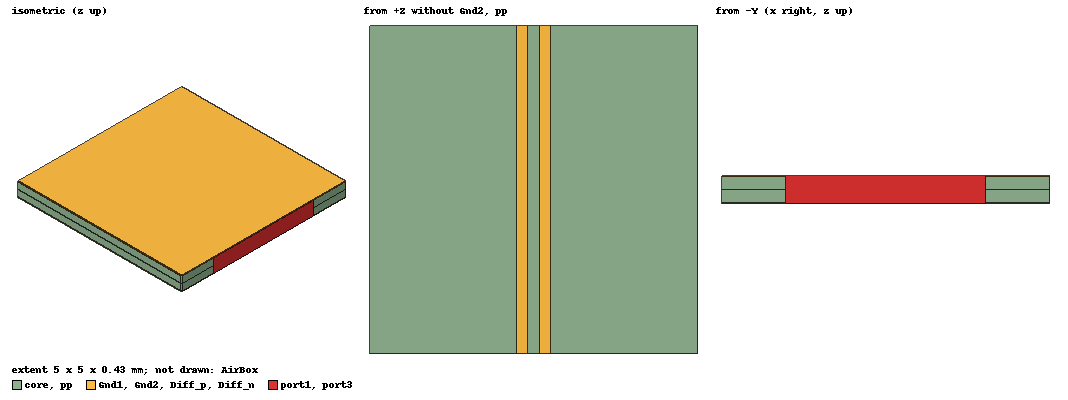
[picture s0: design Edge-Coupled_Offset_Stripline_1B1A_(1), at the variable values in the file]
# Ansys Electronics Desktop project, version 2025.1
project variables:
  $Er1 = 3.6
  $Er2 = 3.6
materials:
  vacuum: permittivity=1
  core: permittivity=$Er1 permeability=1.00001 dielectric_loss_tangent=0.085
  pp: permittivity=$Er2 permeability=1.00001 dielectric_loss_tangent=0.085
  copper: permeability=0.999991 conductivity=58000000
  air: permittivity=1.0006 permeability=1.0000004

design Edge-Coupled_Offset_Stripline_1B1A_(1) (HFSS, HFSS Hybrid Terminal Network, model units mm)
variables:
  H1 = 200um
  H2 = 200um
  W1 = 160um
  W2 = 150um
  S1 = 190um
  T1 = 15um
  subX = 5mm
  subY = 5mm
  subH = 0.4mm
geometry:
  core [core] = box(corner=(0mm, 0mm, 0mm), size=(subX, subY, H1))
  pp [pp] = box(corner=(0mm, 0mm, H1), size=(subX, subY, H2))
  Gnd1 [copper, solve inside] = box(corner=(0mm, 0mm, 0mm), size=(subX, subY, -T1))
  Gnd2 [copper, solve inside] = box(corner=(0mm, 0mm, H1+H2), size=(subX, subY, T1))
  Diff_p [copper, solve inside] = polyline(y=0mm, xz: ((subX-S1-W1)/2-(W1)/2, H1) ((subX-S1-W1)/2+(W1)/2, H1) ((subX-S1-W1)/2+(W2)/2, H1+T1) ((subX-S1-W1)/2-(W2)/2, H1+T1) ((subX-S1-W1)/2-(W1)/2, H1), closed, covered)
  Diff_p.thicken(-subY)
  Diff_n [copper, solve inside] = Diff_p.duplicate_along_line(step=(S1+W1, 0mm, 0mm), total=2)
  Diff_n_1 = Diff_n.copy()
  Diff_p_1 = Diff_p.copy()
  pp.subtract(Diff_n_1, Diff_p_1)
  AirBox [air] = box(corner=(0, 0, -T1), size=(subX, subY, subH+2*T1))
  port1 = rectangle(corner=((subX)/2, 0, subH+T1), z_size=-(subH+2*T1), x_size=-6*(W1+(S1)/2))
  port2 = rectangle(corner=((subX)/2, 0, subH+T1), z_size=-(subH+2*T1), x_size=6*(W1+(S1)/2))
  port1.unite(port2)
  port3 = rectangle(corner=((subX)/2, subY, subH+T1), z_size=-(subH+2*T1), x_size=-6*(W1+(S1)/2))
  port4 = rectangle(corner=((subX)/2, subY, subH+T1), z_size=-(subH+2*T1), x_size=6*(W1+(S1)/2))
  port3.unite(port4)
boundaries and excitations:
  Rad1: Radiation Objects=AirBox
  Diff_p_T1: Terminal port=1 Faces=Diff_p.face(at (2.325, 0, 0.2075)) TerminalResistance=50ohm
  Diff_n_T1: Terminal port=1 Faces=Diff_n.face(at (2.675, 0, 0.2075)) TerminalResistance=50ohm
  Diff_p_T2: Terminal port=2 Faces=Diff_p.face(at (2.325, 5, 0.2075)) TerminalResistance=50ohm
  Diff_n_T2: Terminal port=2 Faces=Diff_n.face(at (2.675, 5, 0.2075)) TerminalResistance=50ohm
  1: Wave Port Faces=port1.face(at (2.5, 0, 0.2)) WavePortType=Terminal NumModes=1
  2: Wave Port Faces=port3.face(at (2.5, 5, 0.2)) WavePortType=Terminal NumModes=1
  reference conductors: Gnd1, Gnd2
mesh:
  Length1: LengthBased Objects=Diff_p MaxLength=0.1mm
  Length2: LengthBased Objects=Diff_n MaxLength=0.1mm
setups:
  Setup1: HfssDriven Frequency=4GHz MaxDeltaS=0.01 MaximumPasses=30 MinimumPasses=1 MinimumConvergedPasses=1 PercentRefinement=30 BasisOrder=1 PortAccuracy=2 DrivenSolverType="Direct Solver"
    sweep Sweep: 0Hz to 1Hz, 1 points; 1Hz to 100MHz, log, 20 per decade; 100MHz to 1GHz step 10MHz; 1GHz to 16GHz step 10MHz; Type=Interpolating SaveFields SaveRadFields InterpTolerance=0.5 InterpMaxSolns=250 MinSolvedFreq=0.01GHz PassivityErrorTolerance=0.0001
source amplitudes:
  1:1, 2:1: 1V 0deg
  1:2, 2:2: -1V 0deg
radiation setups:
  Infinite Sphere1: Infinite Sphere Theta=0deg..180deg step 2deg Phi=-180deg..180deg step 2deg
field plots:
  Vector_E1, Mag_E1: E Field over port3.face(at (2.5, 5, 0.2)) on Setup1 : LastAdaptive at Freq=4GHz Phase=0deg
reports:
  Terminal S Parameter Plot 1: dB(St(Diff1,Diff1)), dB(St(Diff2,Diff1)) vs Freq on Setup1 : Sweep [subX=all subY=all]
  Terminal TDR Impedance Plot 1: TDRZt(Diff1) vs Time on Setup1 : Sweep [subX=all subY=all]
  Terminal S Parameter Plot 2: dB(St(Diff1,Diff1)), dB(St(Diff2,Diff1)) vs Freq on Setup1 : Sweep [subX=all subY=all]; markers MX1 at x=8e+09, MY1 at y=-20
